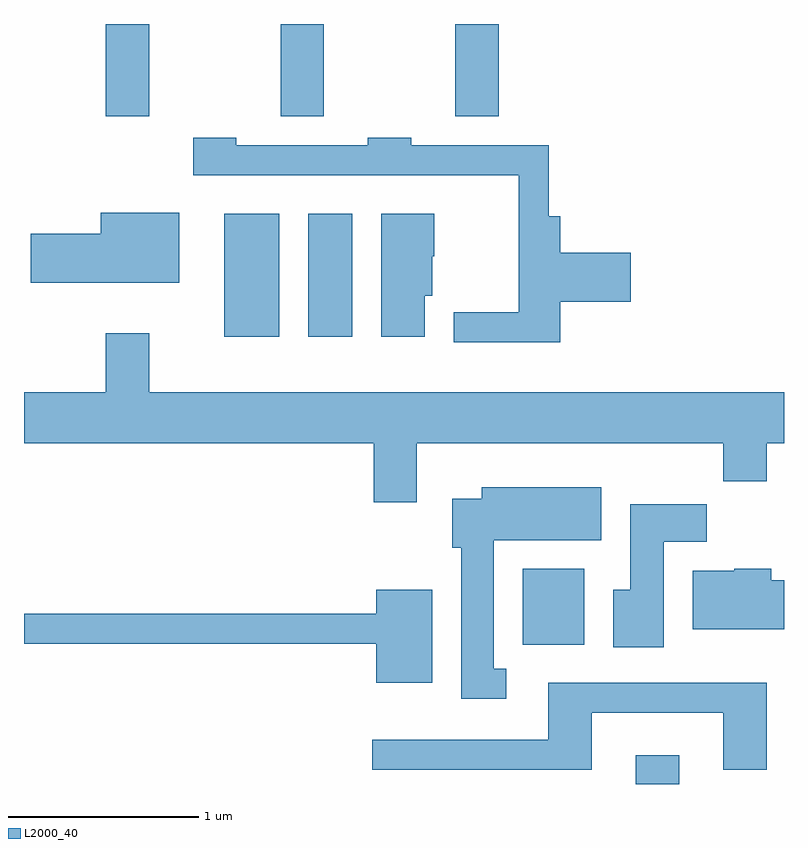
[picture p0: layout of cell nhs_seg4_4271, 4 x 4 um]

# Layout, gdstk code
import gdstk
lib = gdstk.Library(unit=1e-6, precision=1e-09)
def R(c, l, rs):  # rectangles x0, y0, x1, y1
    for r in rs: c.add(gdstk.rectangle(r[:2], r[2:], *l))
def A(c, l, x, y, w, h, nx, ny, dx, dy):  # array of equal rectangles
    R(c, l, [(x+i*dx, y+j*dy, x+i*dx+w, y+j*dy+h) for i in range(nx) for j in range(ny)])
def P(c, l, *ps):  # polygons
    for p in ps: c.add(gdstk.Polygon(p, *l))
L2000_40 = (2000, 40)

nhs_seg4_4271 = lib.new_cell('nhs_seg4_4271')
A(nhs_seg4_4271, L2000_40, 310.041, 1367.496, 0.228, 0.486, 3, 1, 0.92, 0)
R(nhs_seg4_4271, L2000_40, [(312.831,1363.982,313.059,1364.134), (312.236,1364.716,312.559,1365.114), (310.666,1366.336,310.954,1366.984), (311.106,1366.336,311.339,1366.984)])
P(nhs_seg4_4271, L2000_40, [(312.434,1366.521),(312.804,1366.521),(312.804,1366.779),(312.434,1366.779),(312.434,1366.969),(312.374,1366.969),(312.374,1367.344),(311.649,1367.344),(311.649,1367.384),(311.421,1367.384),(311.421,1367.344),(310.729,1367.344),(310.729,1367.384),(310.501,1367.384),(310.501,1367.186),(312.216,1367.186),(312.216,1366.464),(311.873,1366.464),(311.873,1366.306),(312.434,1366.306)],
  [(310.429,1366.989),(310.016,1366.989),(310.016,1366.879),(309.646,1366.879),(309.646,1366.621),(310.429,1366.621)],
  [(311.719,1366.551),(311.759,1366.551),(311.759,1366.76),(311.769,1366.76),(311.769,1366.984),(311.491,1366.984),(311.491,1366.336),(311.719,1366.336)],
  [(311.679,1365.776),(313.291,1365.776),(313.291,1365.576),(313.519,1365.576),(313.519,1365.776),(313.611,1365.776),(313.611,1366.044),(310.269,1366.044),(310.269,1366.354),(310.041,1366.354),(310.041,1366.044),(309.611,1366.044),(309.611,1365.776),(311.451,1365.776),(311.451,1365.466),(311.679,1365.466)],
  [(312.148,1364.589),(312.084,1364.589),(312.084,1365.266),(312.649,1365.266),(312.649,1365.544),(312.021,1365.544),(312.021,1365.484),(311.866,1365.484),(311.866,1365.226),(311.911,1365.226),(311.911,1364.431),(312.148,1364.431)],
  [(312.979,1365.256),(313.204,1365.256),(313.204,1365.454),(312.801,1365.454),(312.801,1365.004),(312.711,1365.004),(312.711,1364.701),(312.979,1364.701)],
  [(313.611,1365.054),(313.544,1365.054),(313.544,1365.114),(313.35,1365.114),(313.35,1365.104),(313.131,1365.104),(313.131,1364.796),(313.611,1364.796)],
  [(311.759,1365.004),(311.466,1365.004),(311.466,1364.879),(309.611,1364.879),(309.611,1364.721),(311.466,1364.721),(311.466,1364.516),(311.759,1364.516)],
  [(312.599,1364.356),(313.291,1364.356),(313.291,1364.056),(313.519,1364.056),(313.519,1364.514),(312.371,1364.514),(312.371,1364.214),(311.443,1364.214),(311.443,1364.056),(312.599,1364.056)])

lib.write_gds('nhs_seg4_4271.gds')
